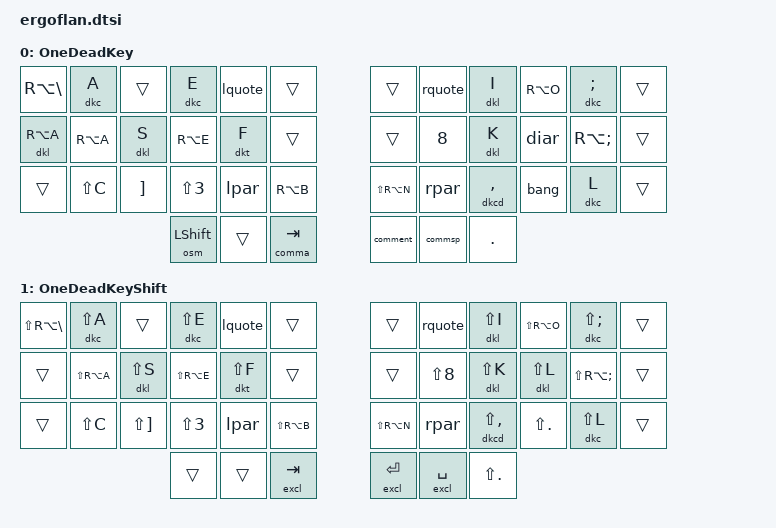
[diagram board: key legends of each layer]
#define ODK_LAYER        EXTRA_LAYERS_START_INDEX
#define ODK_SHIFT_LAYER (EXTRA_LAYERS_START_INDEX + 1)

&base_layer {
  display-name = "Base";
  bindings = <
    &kp BSLH   &kp Q  &kp W  &kp E    &kp R  &kp T        &kp Y    &kp U  &kp I     &kp O   &kp P      &kp LBKT
    &kp NUBS   HRM_A  HRM_S  HRM_D    HRM_F  &kp G        &kp H    HRM_J  HRM_K     HRM_L   HRM_SEMI   &kp SQT
    &kp RBKT   &kp Z  &kp X  &hyphen  &kp V  &kp B        &kp N    &kp M  &kp COMMA &odk    &kp FSLH   &kp RA(NUBS)
              LTHUMB_TUCK  LTHUMB_HOME  LTHUMB_REACH    RTHUMB_REACH  RTHUMB_HOME  RTHUMB_TUCK
  >;
};

&num_row_layer {
  display-name = "NumRow";
    bindings = <
      &kp RS(GRAVE) &kp RS(N1) &kp RS(N2) &kp RS(N3) &kp RS(N4) &kp RS(N5)       &kp LS(N6) &kp LS(N7) &kp LS(N8) &kp LS(N9) &kp LS(N0)    &kp LS(MINUS)
      &kp GRAVE     &kp N1     &kp N2     &kp N3     &kp N4     &kp N5           &kp N6     &kp N7     &kp N8     &kp N9     &kp N0        &kp MINUS
      &trans        &none      &none      &none      &none      &none            &none      &none      &none      &none      &kp LS(EQUAL) &kp EQUAL
                                   &EZ_SK(RALT)  &kp RS(SPACE) &trans           &trans  &kp LS(SPACE) &EZ_SK(RALT)
  >;
};

/ {
  behaviors {
    TWO_LEVEL_KEY(hyphen, S_HYPHEN, &colon)
    TWO_LEVEL_KEY(odk, &osl ODK_LAYER, &odk_shift)
    UNSTICK(odk_shift, &odks)
    TWO_LEVEL_KEY(odks, &sks_odk, &osl ODK_SHIFT_LAYER)
    SAME_KEY(lquote, &kp N2)
    SAME_KEY(lpar, &kp N4)
    SAME_KEY(rquote, &kp N9)
    SAME_KEY(rpar, &kp N7)
    TWO_LEVEL_KEY(diar, &kp RA(L), &dkl LS(L))
    TWO_LEVEL_KEY(bang, &kp RA(DOT), &intbang)
    TWO_LEVEL_KEY(comment, &comma ENTER, &excl ENTER)
    TWO_LEVEL_KEY(commsp, &comma SPACE, &excl SPACE)
    TWO_LEVEL_KEY(commtab, &comma TAB, &excl TAB)
	
   sks_odk: stick_shift_odk {
      compatible = "zmk,behavior-macro";
      #binding-cells = <0>;
      tap-ms = <0>;
      wait-ms = <0>;
      bindings = <&osl ODK_LAYER>, <&osm LSHIFT>;
    };

    colon: colon {
      compatible = "zmk,behavior-macro";
      #binding-cells = <0>;
      tap-ms = <0>;
      wait-ms = <0>;
      bindings = <&kp RA(SPACE) &kp RA(N)>;
    };
    
    intbang: intbang {
      compatible = "zmk,behavior-macro";
      #binding-cells = <0>;
      tap-ms = <0>;
      wait-ms = <0>;
      bindings = <&kp LS(SPACE) &kp LS(RA(DOT))>;
    };
  
    comma: comma {
      compatible = "zmk,behavior-macro-one-param";
      #binding-cells = <1>;
      tap-ms = <0>;
      wait-ms = <0>;
      bindings = 
        <&kp DOT>, 
        <&macro_param_1to1>,
        <&kp MACRO_PLACEHOLDER>;        
    };
    excl: excl {
      compatible = "zmk,behavior-macro-one-param";
      #binding-cells = <1>;
      tap-ms = <0>;
      wait-ms = <0>;
      bindings = 
        <&macro_release LSHIFT>
        <&macro_tap &kp LS(DOT)>, 
        <&macro_param_1to1>,
        <&kp MACRO_PLACEHOLDER>;
    };
    
    dkc: circumflex {
      compatible = "zmk,behavior-dead-key";
      #binding-cells = <1>;
      dead-key = <C>;
    };
    dkl: latin {
      compatible = "zmk,behavior-dead-key";
      #binding-cells = <1>;
      dead-key = <RS(S)>;
    };    
    dkt: tilde {
      compatible = "zmk,behavior-dead-key";
      #binding-cells = <1>;
      dead-key = <RA(F)>;
    };    
    dkcd: cedilla {
      compatible = "zmk,behavior-dead-key";
      #binding-cells = <1>;
      dead-key = <RA(COMMA)>;
    };
    dkd: diaresis {
      compatible = "zmk,behavior-dead-key";
      #binding-cells = <1>;
      dead-key = <RA(L)>;
    };    
  };
  
  // Extra layers defined specifically for this keymap, appended to the base keymap.
  keymap {
    compatible = "zmk,keymap";

    one_dead_key {
      display-name = "OneDeadKey";
      bindings = <
        &kp RA(BSLH) &dkc A     &trans    &dkc E      &lquote  &trans             &trans         &rquote  &dkl I       &kp RA(O)  &dkc SEMI    &trans  
        &dkl RA(A)   &kp RA(A)  &dkl S    &kp RA(E)   &dkt F   &trans             &trans         &kp N8   &dkl K       &diar      &kp RA(SEMI) &trans
        &trans       &kp LS(C)  &kp RBKT  &kp LS(N3)  &lpar    &kp RA(B)          &kp LS(RA(N))  &rpar    &dkcd COMMA  &bang      &dkc L       &trans
                                        &osm LSHIFT  &trans    &comma TAB         &comment  &commsp &kp DOT
      >;
    };
    one_dead_key_shift {
      display-name = "OneDeadKeyShift";
      bindings = <
        &kp LS(RA(BSLH))  &dkc LS(A)     &trans        &dkc  LS(E)    &lquote     &trans              &trans         &rquote    &dkl LS(I)       &kp LS(RA(O))  &dkc LS(SEMI)      &trans  
        &trans            &kp LS(RA(A))  &dkl LS(S)    &kp LS(RA(E))  &dkt LS(F)  &trans              &trans         &kp LS(N8) &dkl LS(K)       &dkl LS(L)     &kp  LS(RA(SEMI))  &trans
        &trans            &kp LS(C)      &kp LS(RBKT)  &kp LS(N3)     &lpar       &kp LS(RA(B))       &kp LS(RA(N))  &rpar      &dkcd LS(COMMA)  &kp LS(DOT)    &dkc  LS(L)        &trans
                                                                 &trans  &trans   &excl TAB           &excl ENTER  &excl SPACE  &kp LS(DOT)
      >;
    };
  };  
};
